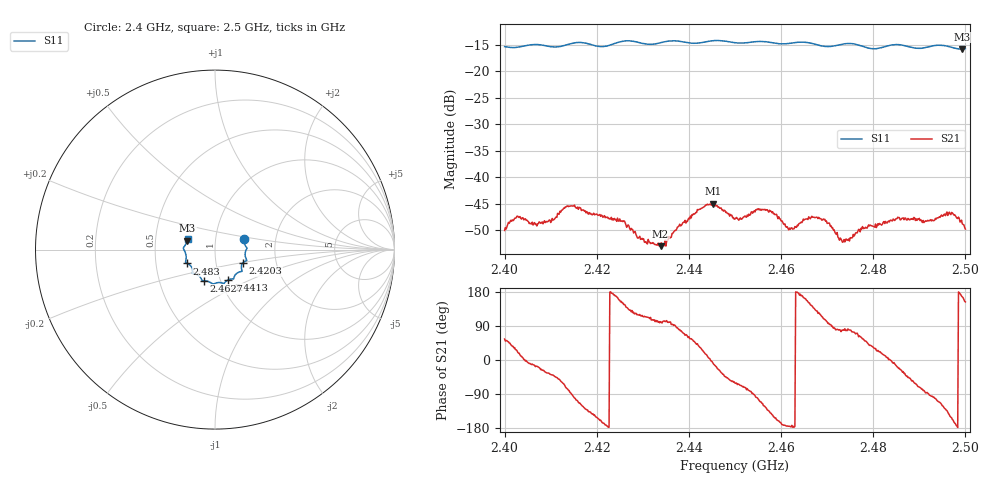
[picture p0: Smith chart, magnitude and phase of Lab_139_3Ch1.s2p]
# Hz S RI R 50
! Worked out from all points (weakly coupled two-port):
!   601 points, 2.4 GHz to 2.5 GHz, reference 50 ohm
!   highest |S21| = -45.05 dB at 2.4453 GHz (marker M1); lowest = -53.1 dB at 2.4338 GHz (marker M2)
!   lowest |S11| = -15.8 dB at 2.4993 GHz (marker M3), VSWR 1.39, Z = 36.5 + j3.71 ohm
!   |S11| at or under -10 dB: start of sweep to end of sweep
!   S12 and S22 are empty: the file has one direction only
!   S11 on the Smith chart (normalised r, x): 2.4 GHz: 1.37, +0.16; 2.4203 GHz: 1.35, -0.21; 2.4413 GHz: 1.09, -0.38; 2.4627 GHz: 0.83, -0.30; 2.483 GHz: 0.72, -0.11; 2.5 GHz: 0.73, +0.09
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2.4e9  0.1609 0.0571  0.00178 0.00257  0 0  0 0
2.402833e9  0.1663 0.0269  0.004 0.0015  0 0  0 0
2.406667e9  0.1784 0.00838  0.0034 -0.00106  0 0  0 0
2.413667e9  0.1719 -0.0487  0.00122 -0.0052  0 0  0 0
2.416667e9  0.1761 -0.0616  -0.00231 -0.00424  0 0  0 0
2.420333e9  0.1551 -0.0739  -0.00393 -0.00184  0 0  0 0
2.4255e9  0.1513 -0.1175  -0.00337 0.00187  0 0  0 0
2.433333e9  0.1079 -0.1485  -0.000388 0.00234  0 0  0 0
2.433833e9  0.1066 -0.1522  -0.000433 0.00218  0 0  0 0
2.441333e9  0.0742 -0.168  0.00312 0.00326  0 0  0 0
2.445333e9  0.0515 -0.1874  0.0055 -0.00102  0 0  0 0
2.45e9  0.0291 -0.1836  0.00194 -0.00352  0 0  0 0
2.4565e9  -0.0143 -0.1897  -0.00269 -0.00415  0 0  0 0
2.462667e9  -0.0619 -0.1749  -0.00323 -0.00027  0 0  0 0
2.466667e9  -0.0744 -0.1676  -0.00341 0.00255  0 0  0 0
2.47e9  -0.0926 -0.1438  -0.000663 0.00359  0 0  0 0
2.4735e9  -0.1211 -0.1342  0.000426 0.00241  0 0  0 0
2.483e9  -0.155 -0.0769  0.00365 0.000398  0 0  0 0
2.483333e9  -0.1573 -0.0758  0.00384 7.08e-05  0 0  0 0
2.496833e9  -0.1676 0.0217  -0.00385 -0.00216  0 0  0 0
2.499333e9  -0.1542 0.0495  -0.00351 0.000852  0 0  0 0
2.5e9  -0.1528 0.0585  -0.00288 0.00145  0 0  0 0
